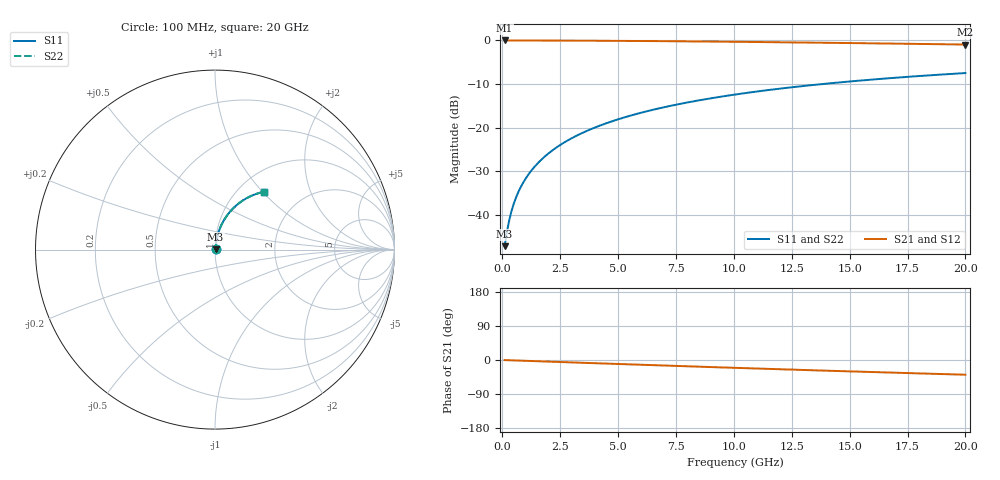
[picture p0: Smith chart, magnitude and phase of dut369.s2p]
! Touchstone file exported from HFSS 2026.1.0
!  File:  C:/ffzhzh/LocalFiles/Ansys_Project_Files/temp_train_TMRDL_369_1783004329_4048.aedt
!  Generated:  11:00:28 PM Jul  2, 2026
!  Design:  TMRDL
!  Project:  temp_train_TMRDL_369_1783004329_4048
! Variables:
!  h_bsmrdl = 2um
!  h_ox = 20um
!  h_rdl = 5um
!  h_sub = 80um
!  h_tmrdl = 3.57um
!  h_tsv = 80um
!  h_via = 3um
!  l_bsmrdl = 300um
!  l_sub = 913.8um
!  l_tmrdl = 513.8um
!  m_sub = 200um
!  pitch = 47.48um
!  r_tsv = 6um
!  s_tmrdl = 10um
!  w_bsmrdl = 18um
!  w_sub = 500um
!  w_tmrdl = 15um
!  x_tsv_center1 = 521.3um
!  x_tsv_center2 = 839.3um
!  x_tsv_center3 = 1368.1um
!  x_tsv_center4 = 1686.1um
!  x_tsv_center5 = 2214.9um
!  x_tsv_center6 = 2532.9um
# GHz S MA R 50.000000
! Terminal data exported
! Port[1] = TM_RDL1_1_T1
! Port[2] = TM_RDL1_1_T2
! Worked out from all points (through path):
!   200 points, 100 MHz to 20 GHz, reference 50 ohm
!   highest |S21| = -0.03 dB at 100 MHz (marker M1); lowest = -1.0 dB at 20 GHz (marker M2)
!   group delay of S21, straight-line fit = 5.4 ps
!   lowest |S11| = -47.1 dB at 100 MHz (marker M3), VSWR 1.01, Z = 50.4 + j0.268 ohm
!   |S11| at or under -10 dB: start of sweep to 13.82 GHz
!   |S22| runs from -47.1 to -7.5 dB; largest |S21 - S12| = 3.3e-15
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0.1  0.00442 37.1  0.9965 -0.2  0.9965 -0.2  0.00442 37.1
! Gamma 0 0 0 0
! Port Impedance 50 0 50 0
0.2  0.006424 55.6  0.9964 -0.4  0.9964 -0.4  0.006424 55.6
0.3  0.008752 64.5  0.9963 -0.7  0.9963 -0.7  0.008752 64.5
0.4  0.01117 69.4  0.9962 -0.9  0.9962 -0.9  0.01117 69.4
0.5  0.01362 72.4  0.9961 -1.1  0.9961 -1.1  0.01362 72.4
0.6  0.01609 74.5  0.9959 -1.3  0.9959 -1.3  0.01609 74.5
0.8  0.02103 77.2  0.9957 -1.7  0.9957 -1.7  0.02103 77.2
1.1  0.0285 79.2  0.9954 -2.4  0.9954 -2.4  0.0285 79.2
1.5  0.03849 80.4  0.995 -3.2  0.995 -3.2  0.03849 80.4
1.8  0.046 80.6  0.9946 -3.8  0.9946 -3.8  0.046 80.7
2.1  0.0535 80.7  0.9941 -4.5  0.9941 -4.5  0.0535 80.7
2.7  0.06847 80.3  0.9929 -5.7  0.9929 -5.7  0.06847 80.3
3.5  0.08829 79.3  0.991 -7.4  0.991 -7.4  0.08829 79.3
4.2  0.1055 78.1  0.989 -8.9  0.989 -8.9  0.1055 78.2
5  0.1248 76.7  0.9863 -10.6  0.9863 -10.6  0.1248 76.8
5.9  0.1463 75.1  0.9829 -12.4  0.9829 -12.4  0.1463 75.1
6.8  0.1674 73.4  0.979 -14.2  0.979 -14.2  0.1674 73.4
8.3  0.2015 70.5  0.9718 -17.3  0.9718 -17.3  0.2015 70.6
10.1  0.2409 67.1  0.962 -20.8  0.962 -20.8  0.2409 67.2
13.4  0.3081 61.1  0.9416 -27.1  0.9416 -27.1  0.3081 61.1
16.7  0.3685 55.2  0.919 -33.1  0.919 -33.1  0.3685 55.3
20  0.4221 49.7  0.8953 -38.8  0.8953 -38.8  0.4221 49.7
